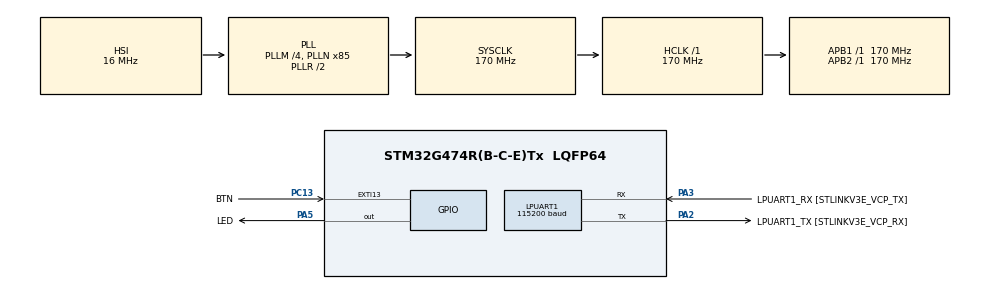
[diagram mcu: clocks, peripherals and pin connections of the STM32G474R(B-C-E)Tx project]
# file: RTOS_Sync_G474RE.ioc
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Mcu.Family=STM32G4
FREERTOS.Queues01=queueTest,16,uint16_t,0,Dynamic,NULL,NULL
RCC.CortexFreq_Value=170000000
FREERTOS.BinarySemaphores01=binarySemTest,Dynamic,NULL
FREERTOS.RecursiveMutexes01=recursiveMutexTest,Dynamic,NULL
PA14.GPIO_Label=T_SWCLK
LPUART1.WordLength=UART_WORDLENGTH_8B
PC13.GPIO_Label=BTN
RCC.SYSCLKSource=RCC_SYSCLKSOURCE_PLLCLK
ProjectManager.StackSize=0x400
FREERTOS.configENABLE_FPU=1
FREERTOS.INCLUDE_pcTaskGetTaskName=1
Mcu.UserConstants=constantTest,256
RCC.HCLKFreq_Value=170000000
RCC.APB2TimFreq_Value=170000000
RCC.AHBFreq_Value=170000000
NVIC.EXTI15_10_IRQn=true\:5\:0\:false\:false\:true\:true\:true\:true
RCC.HSE_VALUE=24000000
RCC.RTCClockSelection=RCC_RTCCLKSOURCE_LSE
RCC.ADC12Freq_Value=170000000
PC14-OSC32_IN.Mode=LSE-External-Oscillator
PA14.Mode=Serial_Wire
VP_SYS_VS_tim1.Mode=TIM1
VP_SYS_VS_DBSignals.Mode=DisableDeadBatterySignals
VP_FREERTOS_VS_CMSIS_V1.Mode=CMSIS_V1
Mcu.Package=LQFP64
FREERTOS.INCLUDE_xTaskAbortDelay=1
NVIC.TimeBase=TIM1_UP_TIM16_IRQn
PA2.GPIO_Label=LPUART1_TX [STLINKV3E_VCP_RX]
NVIC.TimeBaseIP=TIM1
RCC.APB1TimFreq_Value=170000000
PF1-OSC_OUT.Mode=HSE-External-Oscillator
PF1-OSC_OUT.Signal=RCC_OSC_OUT
RCC.HSI48_VALUE=48000000
PA3.Signal=LPUART1_RX
PB3.GPIO_Label=T_SWO
PC15-OSC32_OUT.Mode=LSE-External-Oscillator
FREERTOS.Tasks01=idleTask,0,128,StartIdleTask,Default,NULL,Dynamic,NULL,NULL
PC13.Signal=GPXTI13
RCC.EXTERNAL_CLOCK_VALUE=12288000
FREERTOS.CountingSemaphores01=countingSemTest,5,Dynamic,NULL
PC14-OSC32_IN.Signal=RCC_OSC32_IN
PA13.Signal=SYS_JTMS-SWDIO
PA3.Mode=Asynchronous
ProjectManager.TargetToolchain=STM32CubeIDE
RCC.USBFreq_Value=170000000
PC15-OSC32_OUT.Signal=RCC_OSC32_OUT
PF0-OSC_IN.Mode=HSE-External-Oscillator
PA5.Signal=GPIO_Output
board=NUCLEO-G474RE
RCC.VCOOutputFreq_Value=340000000
RCC.ADC345Freq_Value=170000000
RCC.APB2Freq_Value=170000000
PA13.Mode=Serial_Wire
Mcu.Name=STM32G474R(B-C-E)Tx
LPUART1.BaudRate=115200
PA2.Signal=LPUART1_TX
PA13.GPIO_Label=T_SWDIO
PB3.Signal=SYS_JTDO-SWO
RCC.SYSCLKFreq_VALUE=170000000
PA5.GPIO_Label=LED
PA14.Signal=SYS_JTCK-SWCLK
ProjectManager.HeapSize=0x200
FREERTOS.INCLUDE_xTaskGetHandle=1
FREERTOS.Timers01=timerTest,timerTestCallback,osTimerPeriodic,Default,NULL,Dynamic,NULL
RCC.HSI_VALUE=16000000
FREERTOS.Mutexes01=mutexTest,Dynamic,NULL
NVIC.TIM1_UP_TIM16_IRQn=true\:0\:0\:false\:false\:true\:false\:false\:true
NVIC.PriorityGroup=NVIC_PRIORITYGROUP_4
RCC.PLLM=RCC_PLLM_DIV4
RCC.PLLN=85
PA2.Mode=Asynchronous
PF0-OSC_IN.Signal=RCC_OSC_IN
RCC.APB1Freq_Value=170000000
PA3.GPIO_Label=LPUART1_RX [STLINKV3E_VCP_TX]

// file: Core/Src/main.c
/* USER CODE BEGIN Header */
/**
  ******************************************************************************
  * @file           : main.c
  * @brief          : Main program body
  ******************************************************************************
  * @attention
  *
  * <h2><center>&copy; Copyright (c) 2021 STMicroelectronics.
  * All rights reserved.</center></h2>
  *
  * This software component is licensed by ST under BSD 3-Clause license,
  * the "License"; You may not use this file except in compliance with the
  * License. You may obtain a copy of the License at:
  *                        opensource.org/licenses/BSD-3-Clause
  *
  ******************************************************************************
  */
/* USER CODE END Header */
#include "main.h"
#include "cmsis_os.h"
#include "usart.h"
#include "gpio.h"

/* USER CODE BEGIN PD */
#ifdef __GNUC__	//retarget printf to hlpuart1
#define PUTCHAR_PROTOTYPE int __io_putchar(int ch)
#else
#define PUTCHAR_PROTOTYPE int fputc(int ch, FILE *f)
#endif
/* USER CODE END PD */

/* USER CODE BEGIN PV */
extern UART_HandleTypeDef hlpuart1;
/* USER CODE END PV */

void SystemClock_Config(void);
void MX_FREERTOS_Init(void);

int main(void)
{

  /* MCU Configuration--------------------------------------------------------*/

  /* Reset of all peripherals, Initializes the Flash interface and the Systick. */
  HAL_Init();

  /* Configure the system clock */
  SystemClock_Config();

  /* Initialize all configured peripherals */
  MX_GPIO_Init();
  MX_LPUART1_UART_Init();

  /* Call init function for freertos objects (in freertos.c) */
  MX_FREERTOS_Init();
  /* Start scheduler */
  osKernelStart();

  /* We should never get here as control is now taken by the scheduler */
  /* Infinite loop */
  while (1)
  {

  }
}

void SystemClock_Config(void)
{
  RCC_OscInitTypeDef RCC_OscInitStruct = {0};
  RCC_ClkInitTypeDef RCC_ClkInitStruct = {0};
  RCC_PeriphCLKInitTypeDef PeriphClkInit = {0};

  /** Configure the main internal regulator output voltage
  */
  HAL_PWREx_ControlVoltageScaling(PWR_REGULATOR_VOLTAGE_SCALE1_BOOST);
  /** Initializes the RCC Oscillators according to the specified parameters
  * in the RCC_OscInitTypeDef structure.
  */
  RCC_OscInitStruct.OscillatorType = RCC_OSCILLATORTYPE_HSI;
  RCC_OscInitStruct.HSIState = RCC_HSI_ON;
  RCC_OscInitStruct.HSICalibrationValue = RCC_HSICALIBRATION_DEFAULT;
  RCC_OscInitStruct.PLL.PLLState = RCC_PLL_ON;
  RCC_OscInitStruct.PLL.PLLSource = RCC_PLLSOURCE_HSI;
  RCC_OscInitStruct.PLL.PLLM = RCC_PLLM_DIV4;
  RCC_OscInitStruct.PLL.PLLN = 85;
  RCC_OscInitStruct.PLL.PLLP = RCC_PLLP_DIV2;
  RCC_OscInitStruct.PLL.PLLQ = RCC_PLLQ_DIV2;
  RCC_OscInitStruct.PLL.PLLR = RCC_PLLR_DIV2;
  if (HAL_RCC_OscConfig(&RCC_OscInitStruct) != HAL_OK)
  {
    Error_Handler();
  }
  /** Initializes the CPU, AHB and APB buses clocks
  */
  RCC_ClkInitStruct.ClockType = RCC_CLOCKTYPE_HCLK|RCC_CLOCKTYPE_SYSCLK
                              |RCC_CLOCKTYPE_PCLK1|RCC_CLOCKTYPE_PCLK2;
  RCC_ClkInitStruct.SYSCLKSource = RCC_SYSCLKSOURCE_PLLCLK;
  RCC_ClkInitStruct.AHBCLKDivider = RCC_SYSCLK_DIV1;
  RCC_ClkInitStruct.APB1CLKDivider = RCC_HCLK_DIV1;
  RCC_ClkInitStruct.APB2CLKDivider = RCC_HCLK_DIV1;

  if (HAL_RCC_ClockConfig(&RCC_ClkInitStruct, FLASH_LATENCY_4) != HAL_OK)
  {
    Error_Handler();
  }
  /** Initializes the peripherals clocks
  */
  PeriphClkInit.PeriphClockSelection = RCC_PERIPHCLK_LPUART1;
  PeriphClkInit.Lpuart1ClockSelection = RCC_LPUART1CLKSOURCE_PCLK1;
  if (HAL_RCCEx_PeriphCLKConfig(&PeriphClkInit) != HAL_OK)
  {
    Error_Handler();
  }
}

/* USER CODE BEGIN 4 */
PUTCHAR_PROTOTYPE {	//retarget printf to uart3
	return HAL_UART_Transmit(&hlpuart1, (uint8_t*) &ch, 1, HAL_MAX_DELAY);
}
/* USER CODE END 4 */

 /**
  * @brief  Period elapsed callback in non blocking mode
  * @note   This function is called  when TIM1 interrupt took place, inside
  * HAL_TIM_IRQHandler(). It makes a direct call to HAL_IncTick() to increment
  * a global variable "uwTick" used as application time base.
  * @param  htim : TIM handle
  * @retval None
  */
void HAL_TIM_PeriodElapsedCallback(TIM_HandleTypeDef *htim)
{
  if (htim->Instance == TIM1) {
    HAL_IncTick();
  }
}

void Error_Handler(void)
{
  __disable_irq();
  while (1)
  {
  }
}

/************************ (C) COPYRIGHT STMicroelectronics *****END OF FILE****/

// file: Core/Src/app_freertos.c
/* USER CODE BEGIN Header */
/**
 ******************************************************************************
 * File Name          : app_freertos.c
 * Description        : Code for freertos applications
 ******************************************************************************
 * @attention
 *
 * <h2><center>&copy; Copyright (c) 2021 STMicroelectronics.
 * All rights reserved.</center></h2>
 *
 * This software component is licensed by ST under Ultimate Liberty license
 * SLA0044, the "License"; You may not use this file except in compliance with
 * the License. You may obtain a copy of the License at:
 *                             www.st.com/SLA0044
 *
 ******************************************************************************
 */
/* USER CODE END Header */

#include "FreeRTOS.h"
#include "task.h"
#include "main.h"
#include "cmsis_os.h"

/* USER CODE BEGIN Includes */
#include "stdio.h"
/* USER CODE END Includes */

/* USER CODE BEGIN PTD */
extern UART_HandleTypeDef hlpuart1;
/* USER CODE END PTD */

/* USER CODE BEGIN Variables */
uint32_t timerCounter = 0;
/* USER CODE END Variables */
osThreadId idleTaskHandle;
osMessageQId queueTestHandle;
osTimerId timerTestHandle;
osMutexId mutexTestHandle;
osMutexId recursiveMutexTestHandle;
osSemaphoreId binarySemTestHandle;
osSemaphoreId countingSemTestHandle;

/* USER CODE BEGIN FunctionPrototypes */

osThreadId printfTaskHandle;
void StartPrintfTask(void const *argument);

osThreadId binSemTaskHandle;
void StartBinSemTask(void const *argument);

/* USER CODE END FunctionPrototypes */

void StartIdleTask(void const *argument);
void timerTestCallback(void const *argument);

void MX_FREERTOS_Init(void); /* (MISRA C 2004 rule 8.1) */

void MX_FREERTOS_Init(void) {
	/* USER CODE BEGIN Init */

	printf("FreeRTOS Sync Starting\n");
	printf("\tBuilt on %s %s\n\n", __DATE__, __TIME__);

	/* USER CODE END Init */
	/* Create the mutex(es) */
	/* definition and creation of mutexTest */
	osMutexDef(mutexTest);
	mutexTestHandle = osMutexCreate(osMutex(mutexTest));

	/* Create the recursive mutex(es) */
	/* definition and creation of recursiveMutexTest */
	osMutexDef(recursiveMutexTest);
	recursiveMutexTestHandle = osRecursiveMutexCreate(
			osMutex(recursiveMutexTest));

	/* Create the semaphores(s) */
	/* definition and creation of binarySemTest */
	osSemaphoreDef(binarySemTest);
	binarySemTestHandle = osSemaphoreCreate(osSemaphore(binarySemTest), 1);

	/* definition and creation of countingSemTest */
	osSemaphoreDef(countingSemTest);
	countingSemTestHandle = osSemaphoreCreate(osSemaphore(countingSemTest), 5);

	/* Create the timer(s) */
	/* definition and creation of timerTest */
	osTimerDef(timerTest, timerTestCallback);
	timerTestHandle = osTimerCreate(osTimer(timerTest), osTimerPeriodic, NULL);

	/* Create the queue(s) */
	/* definition and creation of queueTest */
	osMessageQDef(queueTest, 16, uint16_t);
	queueTestHandle = osMessageCreate(osMessageQ(queueTest), NULL);

	/* Create the thread(s) */
	/* definition and creation of idleTask */

	osThreadDef(idleTask, StartIdleTask, osPriorityNormal, 0, 128);
	idleTaskHandle = osThreadCreate(osThread(idleTask), NULL);

	/* USER CODE BEGIN RTOS_THREADS */
	/* add threads, ... */

	osThreadDef(printfTask, StartPrintfTask, osPriorityNormal, 0, 128);
	printfTaskHandle = osThreadCreate(osThread(printfTask), NULL);

	osThreadDef(binSemTask, StartBinSemTask, osPriorityNormal, 0, 128);
	binSemTaskHandle = osThreadCreate(osThread(binSemTask), NULL);
	/* USER CODE END RTOS_THREADS */

}

void StartIdleTask(void const *argument) {
	/* USER CODE BEGIN StartIdleTask */

	HAL_GPIO_WritePin(LED_GPIO_Port, LED_Pin, GPIO_PIN_SET);
	osTimerStart(timerTestHandle, 500);

	/* Infinite loop */
	for (;;) {
		osDelay(1);
	}
	/* USER CODE END StartIdleTask */
}

/* timerTestCallback function */
void timerTestCallback(void const *argument) {
	/* USER CODE BEGIN timerTestCallback */
	HAL_GPIO_TogglePin(LED_GPIO_Port, LED_Pin);
	char helloStr[128] = { 0 };
	sprintf(helloStr, "Timer Print %lu\n", timerCounter++);
//	HAL_UART_Transmit(&hlpuart1, (uint8_t*) helloStr, sizeof(helloStr),
//	HAL_MAX_DELAY);
//	osMessagePut(queueTestHandle, timerCounter, HAL_MAX_DELAY);
	/* USER CODE END timerTestCallback */
}

/* USER CODE BEGIN Application */
void StartPrintfTask(void const *argument) {
	char printStr[256];
	for (;;) {
//		osEvent msg = osMessageGet(queueTestHandle, HAL_MAX_DELAY);
//		uint32_t huh = msg.value.v;
//		printf("queue = %lu\n", huh);
		osDelay(1);
	}
}

void StartBinSemTask(void const *argument) {

	for (;;) {
//		osSemaphoreWait(binarySemTestHandle, 0);
//		printf("Binary Semaphore Acquired\n\n");

//		osSemaphoreWait(binarySemTestHandle, HAL_MAX_DELAY);

	}
}
/* USER CODE END Application */

/************************ (C) COPYRIGHT STMicroelectronics *****END OF FILE****/
